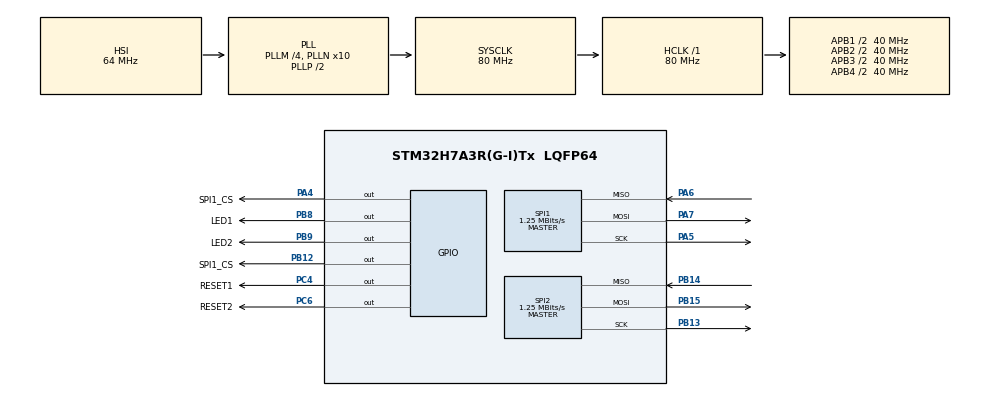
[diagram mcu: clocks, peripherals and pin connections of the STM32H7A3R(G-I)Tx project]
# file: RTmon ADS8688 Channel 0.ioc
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CORTEX_M7.default_mode_Activation=1
Mcu.Family=STM32H7
Mcu.Name=STM32H7A3R(G-I)Tx
Mcu.Package=LQFP64
NVIC.PriorityGroup=NVIC_PRIORITYGROUP_4
PA13.Mode=Serial_Wire
PA13.Signal=DEBUG_JTMS-SWDIO
PA14.Mode=Serial_Wire
PA14.Signal=DEBUG_JTCK-SWCLK
PA4.GPIO_Label=SPI1_CS
PA4.GPIO_Speed=GPIO_SPEED_FREQ_VERY_HIGH
PA4.Signal=GPIO_Output
PA5.Mode=Full_Duplex_Master
PA5.Signal=SPI1_SCK
PA6.Mode=Full_Duplex_Master
PA6.Signal=SPI1_MISO
PA7.Mode=Full_Duplex_Master
PA7.Signal=SPI1_MOSI
PB12.GPIO_Label=SPI1_CS
PB12.Signal=GPIO_Output
PB13.Mode=Full_Duplex_Master
PB13.Signal=SPI2_SCK
PB14.Mode=Full_Duplex_Master
PB14.Signal=SPI2_MISO
PB15.Mode=Full_Duplex_Master
PB15.Signal=SPI2_MOSI
PB8.GPIO_Label=LED1
PB8.Signal=GPIO_Output
PB9.GPIO_Label=LED2
PB9.Signal=GPIO_Output
PC4.GPIO_Label=RESET1
PC4.Signal=GPIO_Output
PC6.GPIO_Label=RESET2
PC6.PinState=GPIO_PIN_SET
PC6.Signal=GPIO_Output
ProjectManager.HeapSize=0x200
ProjectManager.StackSize=0x400
ProjectManager.TargetToolchain=STM32CubeIDE
RCC.ADCFreq_Value=42666666.666666664
RCC.APB1Freq_Value=40000000
RCC.APB2Freq_Value=40000000
RCC.APB3Freq_Value=40000000
RCC.APB4Freq_Value=40000000
RCC.CDPPRE=RCC_APB3_DIV2
RCC.CDPPRE1=RCC_APB1_DIV2
RCC.CDPPRE2=RCC_APB2_DIV2
RCC.CortexFreq_Value=80000000
RCC.DIVM1=4
RCC.DIVM2=4
RCC.DIVN1=10
RCC.DIVN2=8
RCC.DIVP2=3
RCC.DIVR1=3
RCC.HCLKFreq_Value=80000000
RCC.PLL2FRACN=0
RCC.PLL3FRACN=0
RCC.PLLFRACN=0
RCC.SRDPPRE=RCC_APB4_DIV2
RCC.SYSCLKFreq_VALUE=80000000
RCC.SYSCLKSource=RCC_SYSCLKSOURCE_PLLCLK
RCC.USBFreq_Value=80000000
SPI1.BaudRatePrescaler=SPI_BAUDRATEPRESCALER_64
SPI1.CLKPhase=SPI_PHASE_2EDGE
SPI1.CRCCalculation=SPI_CRCCALCULATION_DISABLE
SPI1.CalculateBaudRate=1.25 MBits/s
SPI1.DataSize=SPI_DATASIZE_16BIT
SPI1.Direction=SPI_DIRECTION_2LINES
SPI1.FifoThreshold=SPI_FIFO_THRESHOLD_01DATA
SPI1.MasterReceiverAutoSusp=SPI_MASTER_RX_AUTOSUSP_DISABLE
SPI1.Mode=SPI_MODE_MASTER
SPI1.NSSPMode=SPI_NSS_PULSE_DISABLE
SPI1.VirtualType=VM_MASTER
SPI2.BaudRatePrescaler=SPI_BAUDRATEPRESCALER_64
SPI2.CalculateBaudRate=1.25 MBits/s
SPI2.DataSize=SPI_DATASIZE_16BIT
SPI2.Direction=SPI_DIRECTION_2LINES
SPI2.MasterKeepIOState=SPI_MASTER_KEEP_IO_STATE_DISABLE
SPI2.Mode=SPI_MODE_MASTER
SPI2.NSSPMode=SPI_NSS_PULSE_DISABLE
SPI2.VirtualType=VM_MASTER
VP_MEMORYMAP_VS_MEMORYMAP.Mode=CurAppReg
board=custom

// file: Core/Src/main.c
/* USER CODE BEGIN Header */
/**
  ******************************************************************************
  * @file           : main.c
  * @brief          : Main program body
  ******************************************************************************
  * @attention
  *
  * Copyright (c) 2026 STMicroelectronics.
  * All rights reserved.
  *
  * This software is licensed under terms that can be found in the LICENSE file
  * in the root directory of this software component.
  * If no LICENSE file comes with this software, it is provided AS-IS.
  *
  ******************************************************************************
  */
/* USER CODE END Header */
#include "main.h"

/* USER CODE BEGIN Includes */
#include "ADS8688.h"
/* USER CODE END Includes */

/* USER CODE BEGIN PM */
#define MAX_Samples 1000
/* USER CODE END PM */

SPI_HandleTypeDef hspi1;
SPI_HandleTypeDef hspi2;

/* USER CODE BEGIN PV */
const uint8_t Samples = 100;
float voltage[10] = {0};
int16_t chn_0[MAX_Samples] = {0};
uint16_t ADS1 = {0};
float CHN1_Voltage = 0;
uint16_t ADS2[10] = {0};
uint32_t avg =0;
uint32_t sum1 =0;
uint32_t sum2 =0;
uint16_t adc_value[10] ={0};

uint16_t all_channels_raw[channels_enabled];
float all_channels_voltage[channels_enabled];
//uint16_t tx[2] = {0xC000,0x0000};
//uint16_t rx[2] ={0};
//uint16_t shift[100]={0};
//int i =0;
/* USER CODE END PV */

void SystemClock_Config(void);
static void MPU_Config(void);
static void MX_GPIO_Init(void);
static void MX_SPI1_Init(void);
static void MX_SPI2_Init(void);

int main(void)
{

  /* MPU Configuration--------------------------------------------------------*/
  MPU_Config();

  /* MCU Configuration--------------------------------------------------------*/

  /* Reset of all peripherals, Initializes the Flash interface and the Systick. */
  HAL_Init();

  /* Configure the system clock */
  SystemClock_Config();

  /* Initialize all configured peripherals */
  MX_GPIO_Init();
  MX_SPI1_Init();
  MX_SPI2_Init();
  /* USER CODE BEGIN 2 */

	HAL_Delay(100);

  // ========= Hardware Reset ========= //

  	HAL_GPIO_WritePin(RESET1_GPIO_Port, RESET1_Pin, GPIO_PIN_RESET);
  	HAL_Delay(10);
  	HAL_GPIO_WritePin(RESET1_GPIO_Port, RESET1_Pin, GPIO_PIN_SET);
  	HAL_Delay(10); // Wait for boot-up

  	// ========== ADS8688 Init ========== //

  	ADS8688_Init_Sequence(&hspi1, SPI1_CS_GPIO_Port,SPI1_CS_Pin);

  /* USER CODE END 2 */

  /* Infinite loop */
  /* USER CODE BEGIN WHILE */

//	for(int i = 0; i < MAX_Samples; i++)
//	{
//		chn_0[i] = ADS8688_Read_Ch(&hspi1, SPI1_CS_GPIO_Port, SPI1_CS_Pin);
//		voltage[i] = ((float)chn_0[i] / 65535.0f) * 5.106f;
//	}

while(1) {
	ADS8688_Read_All_Auto(&hspi1, SPI1_CS_GPIO_Port, SPI1_CS_Pin);

//	ADS1 = ADS8688_Read_Ch(&hspi1, SPI1_CS_GPIO_Port,SPI1_CS_Pin);
//	CHN1_Voltage = ((float)ADS1 / 65535.0f) * 5.106f;
//	HAL_Delay(50);

	/* ================= Average ================ */
	/*
    for(int v=0;v<10;v++)
    {
  		for(int i=0;i<Samples;i++)
  		{
  			sum1 += ADS8688_Read_Ch(&hspi1, SPI1_CS_GPIO_Port,SPI1_CS_Pin);
  			//sum2 += ADS8688_Read_Ch(&hspi2, SPI2_CS_GPIO_Port,SPI2_CS_Pin);
			//HAL_Delay(1);
  		}
  		ADS1[v] = sum1/Samples;
  		//ADS2[v] = sum2/samples;
  		sum1 = 0;
  		//sum2 = 0;z
  		// Conversion for 0-5.12V Range:
  		// Voltage = (ADC_Data / 65535) * 5.12
  		voltage[v] = ((float)ADS1[v] / 65535.0f) * 5.106f;
	      //HAL_Delay(1);
    }*/

    /* USER CODE END WHILE */

	}
}

void SystemClock_Config(void)
{
  RCC_OscInitTypeDef RCC_OscInitStruct = {0};
  RCC_ClkInitTypeDef RCC_ClkInitStruct = {0};

  /*AXI clock gating */
  RCC->CKGAENR = 0xE003FFFF;

  /** Supply configuration update enable
  */
  HAL_PWREx_ConfigSupply(PWR_LDO_SUPPLY);

  /** Configure the main internal regulator output voltage
  */
  __HAL_PWR_VOLTAGESCALING_CONFIG(PWR_REGULATOR_VOLTAGE_SCALE3);

  while(!__HAL_PWR_GET_FLAG(PWR_FLAG_VOSRDY)) {}

  /** Initializes the RCC Oscillators according to the specified parameters
  * in the RCC_OscInitTypeDef structure.
  */
  RCC_OscInitStruct.OscillatorType = RCC_OSCILLATORTYPE_HSI;
  RCC_OscInitStruct.HSIState = RCC_HSI_DIV1;
  RCC_OscInitStruct.HSICalibrationValue = 64;
  RCC_OscInitStruct.PLL.PLLState = RCC_PLL_ON;
  RCC_OscInitStruct.PLL.PLLSource = RCC_PLLSOURCE_HSI;
  RCC_OscInitStruct.PLL.PLLM = 4;
  RCC_OscInitStruct.PLL.PLLN = 10;
  RCC_OscInitStruct.PLL.PLLP = 2;
  RCC_OscInitStruct.PLL.PLLQ = 2;
  RCC_OscInitStruct.PLL.PLLR = 3;
  RCC_OscInitStruct.PLL.PLLRGE = RCC_PLL1VCIRANGE_3;
  RCC_OscInitStruct.PLL.PLLVCOSEL = RCC_PLL1VCOWIDE;
  RCC_OscInitStruct.PLL.PLLFRACN = 0;
  if (HAL_RCC_OscConfig(&RCC_OscInitStruct) != HAL_OK)
  {
    Error_Handler();
  }

  /** Initializes the CPU, AHB and APB buses clocks
  */
  RCC_ClkInitStruct.ClockType = RCC_CLOCKTYPE_HCLK|RCC_CLOCKTYPE_SYSCLK
                              |RCC_CLOCKTYPE_PCLK1|RCC_CLOCKTYPE_PCLK2
                              |RCC_CLOCKTYPE_D3PCLK1|RCC_CLOCKTYPE_D1PCLK1;
  RCC_ClkInitStruct.SYSCLKSource = RCC_SYSCLKSOURCE_PLLCLK;
  RCC_ClkInitStruct.SYSCLKDivider = RCC_SYSCLK_DIV1;
  RCC_ClkInitStruct.AHBCLKDivider = RCC_HCLK_DIV1;
  RCC_ClkInitStruct.APB3CLKDivider = RCC_APB3_DIV2;
  RCC_ClkInitStruct.APB1CLKDivider = RCC_APB1_DIV2;
  RCC_ClkInitStruct.APB2CLKDivider = RCC_APB2_DIV2;
  RCC_ClkInitStruct.APB4CLKDivider = RCC_APB4_DIV2;

  if (HAL_RCC_ClockConfig(&RCC_ClkInitStruct, FLASH_LATENCY_3) != HAL_OK)
  {
    Error_Handler();
  }
}

static void MX_SPI1_Init(void)
{

  /* SPI1 parameter configuration*/
  hspi1.Instance = SPI1;
  hspi1.Init.Mode = SPI_MODE_MASTER;
  hspi1.Init.Direction = SPI_DIRECTION_2LINES;
  hspi1.Init.DataSize = SPI_DATASIZE_16BIT;
  hspi1.Init.CLKPolarity = SPI_POLARITY_LOW;
  hspi1.Init.CLKPhase = SPI_PHASE_2EDGE;
  hspi1.Init.NSS = SPI_NSS_SOFT;
  hspi1.Init.BaudRatePrescaler = SPI_BAUDRATEPRESCALER_64;
  hspi1.Init.FirstBit = SPI_FIRSTBIT_MSB;
  hspi1.Init.TIMode = SPI_TIMODE_DISABLE;
  hspi1.Init.CRCCalculation = SPI_CRCCALCULATION_DISABLE;
  hspi1.Init.CRCPolynomial = 0x0;
  hspi1.Init.NSSPMode = SPI_NSS_PULSE_DISABLE;
  hspi1.Init.NSSPolarity = SPI_NSS_POLARITY_LOW;
  hspi1.Init.FifoThreshold = SPI_FIFO_THRESHOLD_01DATA;
  hspi1.Init.TxCRCInitializationPattern = SPI_CRC_INITIALIZATION_ALL_ZERO_PATTERN;
  hspi1.Init.RxCRCInitializationPattern = SPI_CRC_INITIALIZATION_ALL_ZERO_PATTERN;
  hspi1.Init.MasterSSIdleness = SPI_MASTER_SS_IDLENESS_00CYCLE;
  hspi1.Init.MasterInterDataIdleness = SPI_MASTER_INTERDATA_IDLENESS_00CYCLE;
  hspi1.Init.MasterReceiverAutoSusp = SPI_MASTER_RX_AUTOSUSP_DISABLE;
  hspi1.Init.MasterKeepIOState = SPI_MASTER_KEEP_IO_STATE_DISABLE;
  hspi1.Init.IOSwap = SPI_IO_SWAP_DISABLE;
  if (HAL_SPI_Init(&hspi1) != HAL_OK)
  {
    Error_Handler();
  }

}

static void MX_SPI2_Init(void)
{

  /* SPI2 parameter configuration*/
  hspi2.Instance = SPI2;
  hspi2.Init.Mode = SPI_MODE_MASTER;
  hspi2.Init.Direction = SPI_DIRECTION_2LINES;
  hspi2.Init.DataSize = SPI_DATASIZE_16BIT;
  hspi2.Init.CLKPolarity = SPI_POLARITY_LOW;
  hspi2.Init.CLKPhase = SPI_PHASE_1EDGE;
  hspi2.Init.NSS = SPI_NSS_SOFT;
  hspi2.Init.BaudRatePrescaler = SPI_BAUDRATEPRESCALER_64;
  hspi2.Init.FirstBit = SPI_FIRSTBIT_MSB;
  hspi2.Init.TIMode = SPI_TIMODE_DISABLE;
  hspi2.Init.CRCCalculation = SPI_CRCCALCULATION_DISABLE;
  hspi2.Init.CRCPolynomial = 0x0;
  hspi2.Init.NSSPMode = SPI_NSS_PULSE_DISABLE;
  hspi2.Init.NSSPolarity = SPI_NSS_POLARITY_LOW;
  hspi2.Init.FifoThreshold = SPI_FIFO_THRESHOLD_01DATA;
  hspi2.Init.TxCRCInitializationPattern = SPI_CRC_INITIALIZATION_ALL_ZERO_PATTERN;
  hspi2.Init.RxCRCInitializationPattern = SPI_CRC_INITIALIZATION_ALL_ZERO_PATTERN;
  hspi2.Init.MasterSSIdleness = SPI_MASTER_SS_IDLENESS_00CYCLE;
  hspi2.Init.MasterInterDataIdleness = SPI_MASTER_INTERDATA_IDLENESS_00CYCLE;
  hspi2.Init.MasterReceiverAutoSusp = SPI_MASTER_RX_AUTOSUSP_DISABLE;
  hspi2.Init.MasterKeepIOState = SPI_MASTER_KEEP_IO_STATE_DISABLE;
  hspi2.Init.IOSwap = SPI_IO_SWAP_DISABLE;
  if (HAL_SPI_Init(&hspi2) != HAL_OK)
  {
    Error_Handler();
  }

}

static void MX_GPIO_Init(void)
{
  GPIO_InitTypeDef GPIO_InitStruct = {0};

  /* GPIO Ports Clock Enable */
  __HAL_RCC_GPIOA_CLK_ENABLE();
  __HAL_RCC_GPIOC_CLK_ENABLE();
  __HAL_RCC_GPIOB_CLK_ENABLE();

  /*Configure GPIO pin Output Level */
  HAL_GPIO_WritePin(SPI1_CS_GPIO_Port, SPI1_CS_Pin, GPIO_PIN_RESET);

  /*Configure GPIO pin Output Level */
  HAL_GPIO_WritePin(RESET1_GPIO_Port, RESET1_Pin, GPIO_PIN_RESET);

  /*Configure GPIO pin Output Level */
  HAL_GPIO_WritePin(GPIOB, SPI1_CSB12_Pin|LED1_Pin|LED2_Pin, GPIO_PIN_RESET);

  /*Configure GPIO pin Output Level */
  HAL_GPIO_WritePin(RESET2_GPIO_Port, RESET2_Pin, GPIO_PIN_SET);

  /*Configure GPIO pin : SPI1_CS_Pin */
  GPIO_InitStruct.Pin = SPI1_CS_Pin;
  GPIO_InitStruct.Mode = GPIO_MODE_OUTPUT_PP;
  GPIO_InitStruct.Pull = GPIO_NOPULL;
  GPIO_InitStruct.Speed = GPIO_SPEED_FREQ_VERY_HIGH;
  HAL_GPIO_Init(SPI1_CS_GPIO_Port, &GPIO_InitStruct);

  /*Configure GPIO pins : RESET1_Pin RESET2_Pin */
  GPIO_InitStruct.Pin = RESET1_Pin|RESET2_Pin;
  GPIO_InitStruct.Mode = GPIO_MODE_OUTPUT_PP;
  GPIO_InitStruct.Pull = GPIO_NOPULL;
  GPIO_InitStruct.Speed = GPIO_SPEED_FREQ_LOW;
  HAL_GPIO_Init(GPIOC, &GPIO_InitStruct);

  /*Configure GPIO pins : SPI1_CSB12_Pin LED1_Pin LED2_Pin */
  GPIO_InitStruct.Pin = SPI1_CSB12_Pin|LED1_Pin|LED2_Pin;
  GPIO_InitStruct.Mode = GPIO_MODE_OUTPUT_PP;
  GPIO_InitStruct.Pull = GPIO_NOPULL;
  GPIO_InitStruct.Speed = GPIO_SPEED_FREQ_LOW;
  HAL_GPIO_Init(GPIOB, &GPIO_InitStruct);

}

 /* MPU Configuration */

void MPU_Config(void)
{
  MPU_Region_InitTypeDef MPU_InitStruct = {0};

  /* Disables the MPU */
  HAL_MPU_Disable();

  /** Initializes and configures the Region and the memory to be protected
  */
  MPU_InitStruct.Enable = MPU_REGION_ENABLE;
  MPU_InitStruct.Number = MPU_REGION_NUMBER0;
  MPU_InitStruct.BaseAddress = 0x0;
  MPU_InitStruct.Size = MPU_REGION_SIZE_4GB;
  MPU_InitStruct.SubRegionDisable = 0x87;
  MPU_InitStruct.TypeExtField = MPU_TEX_LEVEL0;
  MPU_InitStruct.AccessPermission = MPU_REGION_NO_ACCESS;
  MPU_InitStruct.DisableExec = MPU_INSTRUCTION_ACCESS_DISABLE;
  MPU_InitStruct.IsShareable = MPU_ACCESS_SHAREABLE;
  MPU_InitStruct.IsCacheable = MPU_ACCESS_NOT_CACHEABLE;
  MPU_InitStruct.IsBufferable = MPU_ACCESS_NOT_BUFFERABLE;

  HAL_MPU_ConfigRegion(&MPU_InitStruct);
  /* Enables the MPU */
  HAL_MPU_Enable(MPU_PRIVILEGED_DEFAULT);

}

void Error_Handler(void)
{
  __disable_irq();
  while (1)
  {
  }
}
